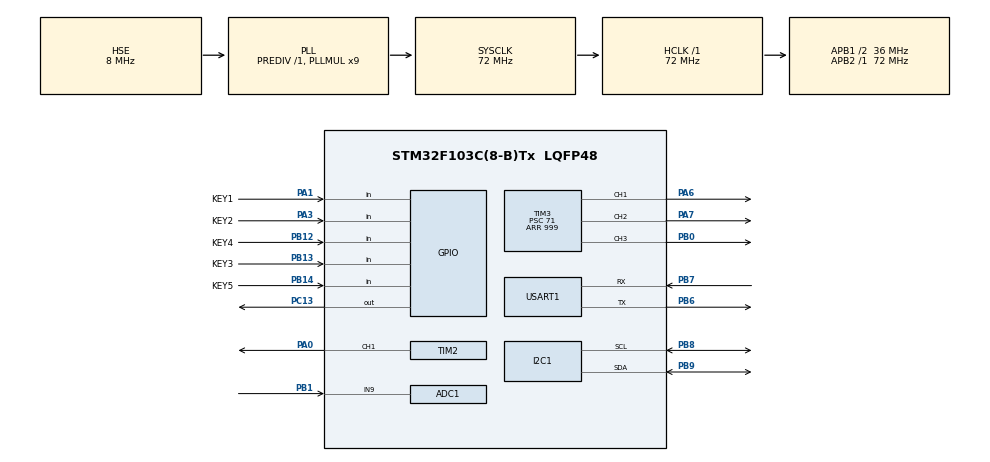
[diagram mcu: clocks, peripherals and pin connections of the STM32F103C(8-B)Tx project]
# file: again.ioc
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ADC1.Channel-7\#ChannelRegularConversion=ADC_CHANNEL_9
ADC1.NbrOfConversionFlag=1
ADC1.Rank-7\#ChannelRegularConversion=1
ADC1.SamplingTime-7\#ChannelRegularConversion=ADC_SAMPLETIME_71CYCLES_5
ADC1.master=1
Dma.Request0=USART1_TX
Dma.USART1_TX.0.Direction=DMA_MEMORY_TO_PERIPH
Dma.USART1_TX.0.Instance=DMA1_Channel4
Dma.USART1_TX.0.MemDataAlignment=DMA_MDATAALIGN_BYTE
Dma.USART1_TX.0.MemInc=DMA_MINC_ENABLE
Dma.USART1_TX.0.Mode=DMA_NORMAL
Dma.USART1_TX.0.PeriphDataAlignment=DMA_PDATAALIGN_BYTE
Dma.USART1_TX.0.PeriphInc=DMA_PINC_DISABLE
Dma.USART1_TX.0.Priority=DMA_PRIORITY_LOW
I2C1.I2C_Mode=I2C_Fast
Mcu.Family=STM32F1
Mcu.Name=STM32F103C(8-B)Tx
Mcu.Package=LQFP48
NVIC.DMA1_Channel4_IRQn=true\:0\:0\:false\:false\:true\:false\:true\:true
NVIC.PriorityGroup=NVIC_PRIORITYGROUP_4
NVIC.TIM4_IRQn=true\:0\:0\:false\:false\:true\:true\:true\:true
NVIC.USART1_IRQn=true\:0\:0\:false\:false\:true\:true\:true\:true
PA0-WKUP.Signal=S_TIM2_CH1_ETR
PA1.GPIO_Label=KEY1
PA1.GPIO_PuPd=GPIO_PULLUP
PA1.Signal=GPIO_Input
PA13.Mode=Serial_Wire
PA13.Signal=SYS_JTMS-SWDIO
PA14.Mode=Serial_Wire
PA14.Signal=SYS_JTCK-SWCLK
PA3.GPIO_Label=KEY2
PA3.GPIO_PuPd=GPIO_PULLUP
PA3.Signal=GPIO_Input
PA6.Signal=S_TIM3_CH1
PA7.Signal=S_TIM3_CH2
PB0.Signal=S_TIM3_CH3
PB1.Signal=ADCx_IN9
PB12.GPIO_Label=KEY4
PB12.GPIO_PuPd=GPIO_PULLDOWN
PB12.Signal=GPIO_Input
PB13.GPIO_Label=KEY3
PB13.GPIO_PuPd=GPIO_PULLDOWN
PB13.Signal=GPIO_Input
PB14.GPIO_Label=KEY5
PB14.GPIO_PuPd=GPIO_PULLDOWN
PB14.Signal=GPIO_Input
PB6.Mode=Asynchronous
PB6.Signal=USART1_TX
PB7.Mode=Asynchronous
PB7.Signal=USART1_RX
PB8.Mode=I2C
PB8.Signal=I2C1_SCL
PB9.Mode=I2C
PB9.Signal=I2C1_SDA
PC13-TAMPER-RTC.Signal=GPIO_Output
PD0-OSC_IN.Mode=HSE-External-Oscillator
PD0-OSC_IN.Signal=RCC_OSC_IN
PD1-OSC_OUT.Mode=HSE-External-Oscillator
PD1-OSC_OUT.Signal=RCC_OSC_OUT
ProjectManager.HeapSize=0x200
ProjectManager.StackSize=0x400
ProjectManager.TargetToolchain=MDK-ARM V5.32
RCC.ADCPresc=RCC_ADCPCLK2_DIV6
RCC.AHBFreq_Value=72000000
RCC.APB1CLKDivider=RCC_HCLK_DIV2
RCC.APB1Freq_Value=36000000
RCC.APB1TimFreq_Value=72000000
RCC.APB2Freq_Value=72000000
RCC.APB2TimFreq_Value=72000000
RCC.HCLKFreq_Value=72000000
RCC.PLLMUL=RCC_PLL_MUL9
RCC.PLLSourceVirtual=RCC_PLLSOURCE_HSE
RCC.SYSCLKFreq_VALUE=72000000
RCC.SYSCLKSource=RCC_SYSCLKSOURCE_PLLCLK
RCC.USBFreq_Value=72000000
SH.ADCx_IN9.0=ADC1_IN9,IN9
SH.S_TIM2_CH1_ETR.0=TIM2_CH1,PWM Generation1 CH1
SH.S_TIM3_CH1.0=TIM3_CH1,PWM Generation1 CH1
SH.S_TIM3_CH2.0=TIM3_CH2,PWM Generation2 CH2
SH.S_TIM3_CH3.0=TIM3_CH3,PWM Generation3 CH3
TIM2.Channel-PWM\ Generation1\ CH1=TIM_CHANNEL_1
TIM2.Period=19999
TIM2.Prescaler=71
TIM3.Channel-PWM\ Generation1\ CH1=TIM_CHANNEL_1
TIM3.Channel-PWM\ Generation2\ CH2=TIM_CHANNEL_2
TIM3.Channel-PWM\ Generation3\ CH3=TIM_CHANNEL_3
TIM3.Period=999
TIM3.Prescaler=71
TIM3.Pulse-PWM\ Generation1\ CH1=500
TIM3.Pulse-PWM\ Generation2\ CH2=500
TIM3.Pulse-PWM\ Generation3\ CH3=0
TIM4.Period=9
TIM4.Prescaler=7199
USART1.VirtualMode=VM_ASYNC
VP_TIM3_VS_ClockSourceINT.Mode=Internal
VP_TIM4_VS_ClockSourceINT.Mode=Internal
board=custom

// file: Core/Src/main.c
/* USER CODE BEGIN Header */
/**
  ******************************************************************************
  * @file           : main.c
  * @brief          : Main program body
  ******************************************************************************
  * @attention
  *
  * Copyright (c) 2026 STMicroelectronics.
  * All rights reserved.
  *
  * This software is licensed under terms that can be found in the LICENSE file
  * in the root directory of this software component.
  * If no LICENSE file comes with this software, it is provided AS-IS.
  *
  ******************************************************************************
  */
/* USER CODE END Header */
#include "main.h"
#include "adc.h"
#include "dma.h"
#include "i2c.h"
#include "tim.h"
#include "usart.h"
#include "gpio.h"

/* USER CODE BEGIN Includes */
#include "key.h"   // 引入你刚才写好的按键模块
#include "uart.h"
#include <stdio.h> // 为了用 sprintf
#include <string.h>
#include "oled.h"
#include "my_adc.h"
#include "mpu6050.h"
#include "test.h"
#include "page.h"
#include "servo.h"
/* USER CODE END Includes */

void SystemClock_Config(void);

/* USER CODE BEGIN 0 */
void HAL_TIM_PeriodElapsedCallback(TIM_HandleTypeDef *htim)
{
   if (htim->Instance == TIM4)
    {
        key_scan_task();
        page_key_scan();
    }
}

/* USER CODE END 0 */

int main(void)
{

  /* MCU Configuration--------------------------------------------------------*/

  /* Reset of all peripherals, Initializes the Flash interface and the Systick. */
  HAL_Init();

  /* Configure the system clock */
  SystemClock_Config();

  /* Initialize all configured peripherals */
  MX_GPIO_Init();
  MX_DMA_Init();
  MX_TIM4_Init();
  MX_TIM3_Init();
  MX_USART1_UART_Init();
  MX_ADC1_Init();
  MX_I2C1_Init();
  MX_TIM2_Init();
  /* USER CODE BEGIN 2 */

  HAL_TIM_Base_Start_IT(&htim4);

  HAL_TIM_PWM_Start(&htim3,TIM_CHANNEL_1);
  HAL_TIM_PWM_Start(&htim3,TIM_CHANNEL_2);
  HAL_TIM_PWM_Start(&htim3,TIM_CHANNEL_3);

  uart_start_receive();

  HAL_Delay(20);
  OLED_Init();

	MPU6050_Init();        // 失败也不停机，靠 g_mpu.ok 显示 MPU ERROR

  test_mpu_id();

  servo_init();        // 舵机：启动 PWM，摆到 90 度

  //char message[50] = "";

  /* USER CODE END 2 */

  /* Infinite loop */
  /* USER CODE BEGIN WHILE */
  while (1)
  {

      uart_process_task();  // 串口，按键检测，所以在前

        nav_key_task();        // 导航键 KEY4/KEY5：消息页翻消息
        led_mode_task();       // 灯效：每一页 KEY1/KEY2 都能用
        page_task();           // 页面

    /* USER CODE END WHILE */

  }
}

void SystemClock_Config(void)
{
  RCC_OscInitTypeDef RCC_OscInitStruct = {0};
  RCC_ClkInitTypeDef RCC_ClkInitStruct = {0};
  RCC_PeriphCLKInitTypeDef PeriphClkInit = {0};

  /** Initializes the RCC Oscillators according to the specified parameters
  * in the RCC_OscInitTypeDef structure.
  */
  RCC_OscInitStruct.OscillatorType = RCC_OSCILLATORTYPE_HSE;
  RCC_OscInitStruct.HSEState = RCC_HSE_ON;
  RCC_OscInitStruct.HSEPredivValue = RCC_HSE_PREDIV_DIV1;
  RCC_OscInitStruct.HSIState = RCC_HSI_ON;
  RCC_OscInitStruct.PLL.PLLState = RCC_PLL_ON;
  RCC_OscInitStruct.PLL.PLLSource = RCC_PLLSOURCE_HSE;
  RCC_OscInitStruct.PLL.PLLMUL = RCC_PLL_MUL9;
  if (HAL_RCC_OscConfig(&RCC_OscInitStruct) != HAL_OK)
  {
    Error_Handler();
  }

  /** Initializes the CPU, AHB and APB buses clocks
  */
  RCC_ClkInitStruct.ClockType = RCC_CLOCKTYPE_HCLK|RCC_CLOCKTYPE_SYSCLK
                              |RCC_CLOCKTYPE_PCLK1|RCC_CLOCKTYPE_PCLK2;
  RCC_ClkInitStruct.SYSCLKSource = RCC_SYSCLKSOURCE_PLLCLK;
  RCC_ClkInitStruct.AHBCLKDivider = RCC_SYSCLK_DIV1;
  RCC_ClkInitStruct.APB1CLKDivider = RCC_HCLK_DIV2;
  RCC_ClkInitStruct.APB2CLKDivider = RCC_HCLK_DIV1;

  if (HAL_RCC_ClockConfig(&RCC_ClkInitStruct, FLASH_LATENCY_2) != HAL_OK)
  {
    Error_Handler();
  }
  PeriphClkInit.PeriphClockSelection = RCC_PERIPHCLK_ADC;
  PeriphClkInit.AdcClockSelection = RCC_ADCPCLK2_DIV6;
  if (HAL_RCCEx_PeriphCLKConfig(&PeriphClkInit) != HAL_OK)
  {
    Error_Handler();
  }
}

void Error_Handler(void)
{
  __disable_irq();
  while (1)
  {
  }
}
